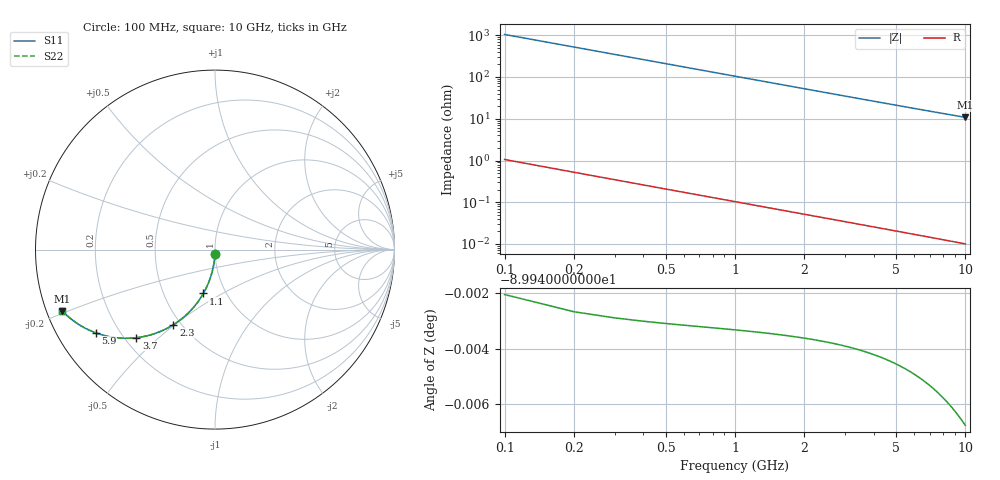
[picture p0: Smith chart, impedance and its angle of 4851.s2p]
# Hz S RI R 50.00
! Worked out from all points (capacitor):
!   100 points, 100 MHz to 10 GHz, reference 50 ohm
!   read as one part in shunt: C = 1.52 pF near 100 MHz
!   lowest |Z| = 10.8 ohm at 10 GHz (marker M1)
!   S11 on the Smith chart (normalised r, x): 100 MHz: 1.00, -0.05; 1.1 GHz: 0.78, -0.41; 2.3 GHz: 0.46, -0.49; 3.7 GHz: 0.25, -0.43; 5.9 GHz: 0.12, -0.31; 10 GHz: 0.05, -0.19
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1e8  -0.000572 -0.0238  0.9994 -0.024  0.9994 -0.024  -0.000572 -0.0238
2e8  -0.00231 -0.0475  0.9976 -0.048  0.9976 -0.048  -0.00231 -0.0475
3e8  -0.00517 -0.071  0.9948 -0.0718  0.9948 -0.0718  -0.00517 -0.071
4e8  -0.00913 -0.0942  0.9908 -0.0953  0.9908 -0.0953  -0.00913 -0.0942
5e8  -0.0142 -0.1172  0.9858 -0.1185  0.9858 -0.1185  -0.0142 -0.1172
6e8  -0.0203 -0.1397  0.9797 -0.1413  0.9797 -0.1413  -0.0203 -0.1397
7e8  -0.0274 -0.1618  0.9726 -0.1637  0.9726 -0.1637  -0.0274 -0.1618
9e8  -0.0444 -0.2044  0.9555 -0.2067  0.9555 -0.2067  -0.0444 -0.2044
1.1e9  -0.0648 -0.2444  0.9351 -0.2472  0.9351 -0.2472  -0.0648 -0.2444
1.4e9  -0.1009 -0.2988  0.8991 -0.3025  0.8991 -0.3025  -0.1009 -0.2988
1.8e9  -0.1562 -0.3603  0.8437 -0.365  0.8437 -0.365  -0.1562 -0.3603
2.3e9  -0.2319 -0.4185  0.768 -0.4246  0.768 -0.4246  -0.2319 -0.4185
2.8e9  -0.3089 -0.4579  0.691 -0.4652  0.691 -0.4652  -0.3089 -0.4579
3.4e9  -0.3969 -0.4843  0.603 -0.4933  0.603 -0.4933  -0.3969 -0.4843
3.7e9  -0.4379 -0.4907  0.562 -0.5005  0.562 -0.5005  -0.4379 -0.4907
4.4e9  -0.5239 -0.4931  0.476 -0.5048  0.476 -0.5048  -0.5239 -0.4931
5.1e9  -0.5963 -0.4833  0.4035 -0.4969  0.4035 -0.4969  -0.5963 -0.4833
5.9e9  -0.664 -0.4639  0.3358 -0.4797  0.3358 -0.4797  -0.664 -0.4639
6.7e9  -0.7181 -0.4403  0.2817 -0.4584  0.2817 -0.4584  -0.7181 -0.4403
7.5e9  -0.7615 -0.4154  0.2382 -0.4358  0.2382 -0.4358  -0.7615 -0.4154
8.4e9  -0.8003 -0.3877  0.1994 -0.4106  0.1994 -0.4106  -0.8003 -0.3877
1e10  -0.8505 -0.342  0.149 -0.3696  0.149 -0.3696  -0.8505 -0.342
